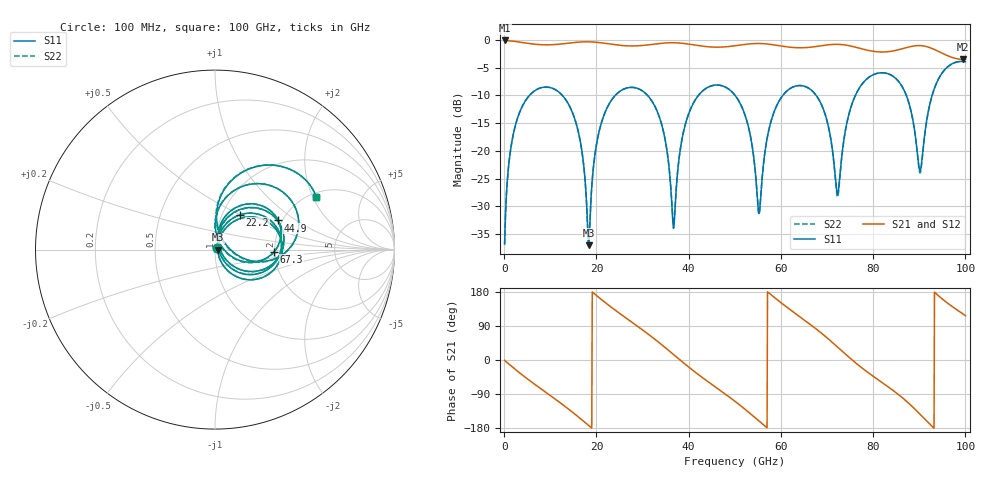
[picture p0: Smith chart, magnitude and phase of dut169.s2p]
! Touchstone file exported from HFSS 2026.1.0
!  File:  C:/ffzhzh/LocalFiles/Ansys_Project_Files/temp_test_TSV_RDL_169_1783467157_41684.aedt
!  Generated:  07:43:33 AM Jul  8, 2026
!  Design:  TSV_RDL
!  Project:  temp_test_TSV_RDL_169_1783467157_41684
! Variables:
!  h_bsmrdl = 2.9um
!  h_ox = 20um
!  h_rdl = 5um
!  h_sub = 86.73um
!  h_tmrdl = 4.61um
!  h_tsv = 86.73um
!  h_via = 3um
!  l_bsmrdl = 397.37um
!  l_sub = 3034.21um
!  l_tmrdl = 324.87um
!  m_sub = 200um
!  pitch = 43.72um
!  r_tsv = 10.1um
!  s_tmrdl = 10um
!  w_bsmrdl = 25.18um
!  w_sub = 500um
!  w_tmrdl = 22.36um
!  x_tsv_center1 = 336.05um
!  x_tsv_center2 = 758.6um
!  x_tsv_center3 = 1105.83um
!  x_tsv_center4 = 1528.38um
!  x_tsv_center5 = 1875.61um
!  x_tsv_center6 = 2298.16um
# GHz S MA R 50.000000
! Terminal data exported
! Port[1] = TM_RDL1_1_T1
! Port[2] = TM_RDL5_1_T1
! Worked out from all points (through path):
!   1000 points, 100 MHz to 100 GHz, reference 50 ohm
!   highest |S21| = -0.10 dB at 100 MHz (marker M1); lowest = -3.5 dB at 99.5 GHz (marker M2)
!   group delay of S21, straight-line fit = 26.6 ps
!   lowest |S11| = -37.0 dB at 18.3 GHz (marker M3), VSWR 1.03, Z = 51.4 - j0.0205 ohm
!   |S11| at or under -10 dB: 12.61 GHz to 24.1 GHz (11.5 GHz wide, 62.6 % of centre); 31.08 GHz to 42.13 GHz (11.05 GHz wide, 30.2 % of centre); 50.05 GHz to 60.43 GHz (10.37 GHz wide, 18.8 % of centre) (the widest 3 of 6)
!   |S22| runs from -37.2 to -3.9 dB; largest |S21 - S12| = 7.6e-13
!   S11 on the Smith chart (normalised r, x): 100 MHz: 1.02, +0.02; 22.2 GHz: 1.21, +0.50; 44.9 GHz: 1.89, +0.72; 67.3 GHz: 1.98, -0.05; 100 GHz: 2.17, +2.13
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0.1  0.01441 34.4  0.9882 -1.1  0.9882 -1.1  0.01441 34.4
! Gamma 0 0 0 0
! Port Impedance 50 0 50 0
1.9  0.1355 63.1  0.9735 -19.6  0.9735 -19.6  0.1355 63.1
5.8  0.3257 29.6  0.923 -56.8  0.923 -56.8  0.3257 29.6
16.8  0.1031 -62.1  0.9584 -157.3  0.9584 -157.3  0.1031 -62.2
18.3  0.01406 -0.8  0.9605 -172.5  0.9605 -172.5  0.0138 -0.9
22.2  0.2383 54.3  0.9266 148.9  0.9266 148.9  0.2383 54.4
33.4  0.2151 -39.5  0.9249 47.8  0.9249 47.8  0.2151 -39.1
36.7  0.01995 7.1  0.9426 14.6  0.9426 14.6  0.02184 7.7
39.5  0.1861 69.5  0.9225 -13.6  0.9225 -13.6  0.1864 68.9
44.9  0.3846 25.0  0.8628 -63.4  0.8628 -63.4  0.3847 24.6
50.1  0.3145 -17.6  0.8856 -109.5  0.8856 -109.5  0.3145 -17.9
55.3  0.02725 24.6  0.928 -161.4  0.928 -161.4  0.02697 24.5
59.1  0.2557 64.6  0.8935 160.0  0.8935 160.0  0.2557 64.3
66.7  0.3494 2.9  0.8616 90.8  0.8616 90.8  0.3493 2.4
67.3  0.3294 -2.0  0.8678 85.2  0.8678 85.2  0.3293 -2.4
72.3  0.04087 33.8  0.9118 34.0  0.9118 34.0  0.03819 33.8
76.1  0.3124 76.2  0.8608 -6.5  0.8608 -6.5  0.3122 76.5
83.4  0.4921 18.8  0.7842 -72.1  0.7842 -72.1  0.4921 18.6
90.2  0.06616 37.7  0.8879 -143.7  0.8879 -143.7  0.06298 37.6
93.6  0.3956 76.5  0.8076 175.6  0.8076 175.6  0.3949 77.0
99.5  0.6394 30.6  0.6676 121.3  0.6676 121.3  0.6392 30.8
100  0.6357 27.3  0.6691 117.1  0.6691 117.1  0.6355 27.5
